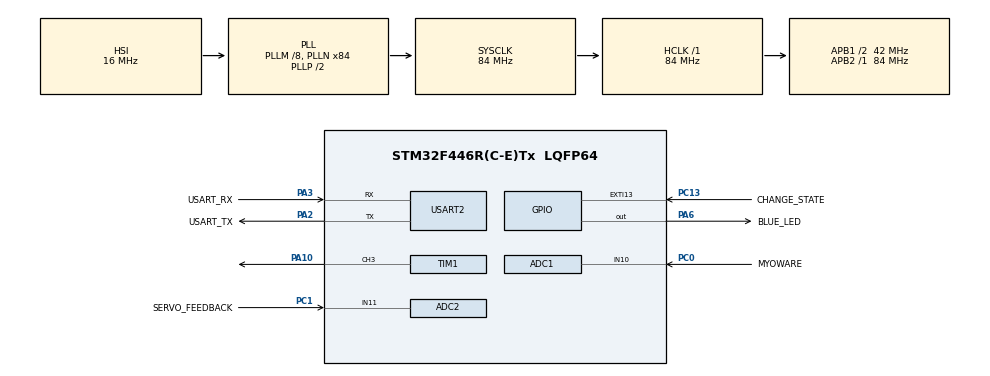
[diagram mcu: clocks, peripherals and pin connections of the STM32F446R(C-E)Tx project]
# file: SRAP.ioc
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ADC1.Channel-8\#ChannelRegularConversion=ADC_CHANNEL_10
ADC1.ContinuousConvMode=ENABLE
ADC1.DMAContinuousRequests=DISABLE
ADC1.NbrOfConversionFlag=1
ADC1.Rank-8\#ChannelRegularConversion=1
ADC1.SamplingTime-8\#ChannelRegularConversion=ADC_SAMPLETIME_3CYCLES
ADC1.master=1
ADC2.Channel-0\#ChannelRegularConversion=ADC_CHANNEL_11
ADC2.ContinuousConvMode=DISABLE
ADC2.DMAContinuousRequests=DISABLE
ADC2.NbrOfConversionFlag=1
ADC2.Rank-0\#ChannelRegularConversion=1
ADC2.SamplingTime-0\#ChannelRegularConversion=ADC_SAMPLETIME_3CYCLES
ADC2.ScanConvMode=DISABLE
Dma.ADC1.0.Direction=DMA_PERIPH_TO_MEMORY
Dma.ADC1.0.FIFOMode=DMA_FIFOMODE_DISABLE
Dma.ADC1.0.Instance=DMA2_Stream0
Dma.ADC1.0.MemDataAlignment=DMA_MDATAALIGN_HALFWORD
Dma.ADC1.0.MemInc=DMA_MINC_ENABLE
Dma.ADC1.0.Mode=DMA_CIRCULAR
Dma.ADC1.0.PeriphDataAlignment=DMA_PDATAALIGN_HALFWORD
Dma.ADC1.0.PeriphInc=DMA_PINC_DISABLE
Dma.ADC1.0.Priority=DMA_PRIORITY_LOW
Dma.Request0=ADC1
Mcu.Family=STM32F4
Mcu.Name=STM32F446R(C-E)Tx
Mcu.Package=LQFP64
NVIC.DMA2_Stream0_IRQn=true\:0\:0\:false\:false\:true\:false\:true\:true
NVIC.EXTI15_10_IRQn=true\:0\:0\:false\:false\:true\:true\:true\:true
NVIC.PriorityGroup=NVIC_PRIORITYGROUP_0
PA10.Signal=S_TIM1_CH3
PA13.GPIO_Label=TMS
PA13.Mode=Serial_Wire
PA13.Signal=SYS_JTMS-SWDIO
PA14.GPIO_Label=TCK
PA14.Mode=Serial_Wire
PA14.Signal=SYS_JTCK-SWCLK
PA2.GPIO_Label=USART_TX
PA2.Mode=Asynchronous
PA2.Signal=USART2_TX
PA3.GPIO_Label=USART_RX
PA3.Mode=Asynchronous
PA3.Signal=USART2_RX
PA6.GPIO_Label=BLUE_LED
PA6.Signal=GPIO_Output
PB3.GPIO_Label=SWO
PB3.Signal=SYS_JTDO-SWO
PC0.GPIO_Label=MYOWARE
PC0.Signal=ADCx_IN10
PC1.GPIO_Label=SERVO_FEEDBACK
PC1.Signal=ADCx_IN11
PC13.GPIO_Label=CHANGE_STATE
PC13.GPIO_ModeDefaultEXTI=GPIO_MODE_IT_FALLING
PC13.Signal=GPXTI13
PC14-OSC32_IN.Mode=LSE-External-Oscillator
PC14-OSC32_IN.Signal=RCC_OSC32_IN
PC15-OSC32_OUT.Mode=LSE-External-Oscillator
PC15-OSC32_OUT.Signal=RCC_OSC32_OUT
PH0-OSC_IN.Mode=HSE-External-Oscillator
PH0-OSC_IN.Signal=RCC_OSC_IN
PH1-OSC_OUT.Mode=HSE-External-Oscillator
PH1-OSC_OUT.Signal=RCC_OSC_OUT
ProjectManager.HeapSize=0x200
ProjectManager.StackSize=0x400
ProjectManager.TargetToolchain=STM32CubeIDE
RCC.48MHZClocksFreq_Value=84000000
RCC.AHBFreq_Value=84000000
RCC.APB1CLKDivider=RCC_HCLK_DIV2
RCC.APB1Freq_Value=42000000
RCC.APB1TimFreq_Value=84000000
RCC.APB2Freq_Value=84000000
RCC.APB2TimFreq_Value=84000000
RCC.CortexFreq_Value=84000000
RCC.FLatency-AdvancedSettings=FLASH_LATENCY_2
RCC.HCLKFreq_Value=84000000
RCC.HSE_VALUE=8000000
RCC.HSI_VALUE=16000000
RCC.PLLM=8
RCC.PLLN=84
RCC.SYSCLKFreq_VALUE=84000000
RCC.SYSCLKSource=RCC_SYSCLKSOURCE_PLLCLK
RCC.USBFreq_Value=84000000
RCC.VCOOutputFreq_Value=168000000
SH.ADCx_IN10.0=ADC1_IN10,IN10
SH.ADCx_IN11.0=ADC2_IN11,IN11
SH.S_TIM1_CH3.0=TIM1_CH3,PWM Generation3 CH3
TIM1.Channel-PWM\ Generation3\ CH3=TIM_CHANNEL_3
TIM1.Period=56000-1
TIM1.Prescaler=30-1
USART2.VirtualMode=VM_ASYNC
VP_TIM1_VS_ClockSourceINT.Mode=Internal
board=NUCLEO-F446RE

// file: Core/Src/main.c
/* USER CODE BEGIN Header */
/**
  ******************************************************************************
  * @file           : main.c
  * @brief          : Main program body
  ******************************************************************************
  * @attention
  *
  * Copyright (c) 2022 STMicroelectronics.
  * All rights reserved.
  *
  * This software is licensed under terms that can be found in the LICENSE file
  * in the root directory of this software component.
  * If no LICENSE file comes with this software, it is provided AS-IS.
  *
  ******************************************************************************
  */
/* USER CODE END Header */
#include "main.h"

/* USER CODE BEGIN Includes */
#include <stdio.h>

#include <Servo.h>
#include <operations.h>
/* USER CODE END Includes */

/* USER CODE BEGIN PD */

#define EMG_BUF_LEN 2555
#define ADC2_BUF_LEN 1
#define MOVING_POINT 25
#define TRESHOLD 80.0

/* USER CODE END PD */

ADC_HandleTypeDef hadc1;
ADC_HandleTypeDef hadc2;
DMA_HandleTypeDef hdma_adc1;

TIM_HandleTypeDef htim1;

UART_HandleTypeDef huart2;

/* USER CODE BEGIN PV */

char msg[100];

uint16_t emg_buf[EMG_BUF_LEN];
uint8_t emg_dma_complete = 0;

float emg_value = 0.0f;
float setpoint_angle = 0.0f;
float target_angle = 0.0f;
uint16_t feedback_value = 0;
Servo servo;

float min_angle = 0.0f;
float max_angle = 0.0f;

typedef enum {
	SETUP,
	CALIBRATION,
	CONFIGURATION_MIN,
	CONFIGURATION_MAX,
	CONTROL
} SystemState;

volatile SystemState system_state = SETUP;

/* USER CODE END PV */

void SystemClock_Config(void);
static void MX_GPIO_Init(void);
static void MX_DMA_Init(void);
static void MX_USART2_UART_Init(void);
static void MX_ADC1_Init(void);
static void MX_ADC2_Init(void);
static void MX_TIM1_Init(void);

int main(void)
{

  /* MCU Configuration--------------------------------------------------------*/

  /* Reset of all peripherals, Initializes the Flash interface and the Systick. */
  HAL_Init();

  /* Configure the system clock */
  SystemClock_Config();

  /* Initialize all configured peripherals */
  MX_GPIO_Init();
  MX_DMA_Init();
  MX_USART2_UART_Init();
  MX_ADC1_Init();
  MX_ADC2_Init();
  MX_TIM1_Init();
  /* USER CODE BEGIN 2 */

  servo = new_servo(&htim1, TIM_CHANNEL_3, 0.0, 180.0, 1.0, 11.0, 0.8);
  system_state = CALIBRATION;

  uint16_t min_calibration, max_calibration, mid_calibration = 0;

  /* USER CODE END 2 */

  /* Infinite loop */
  /* USER CODE BEGIN WHILE */
	while (1)
	{

		if (system_state == CALIBRATION) {
			calibrate_actuator(servo, &min_calibration, &max_calibration, &mid_calibration);
			system_state = CONFIGURATION_MIN;
		}

		if (system_state == CONFIGURATION_MIN || system_state == CONFIGURATION_MAX) {
			configure_actuator(servo, min_calibration, max_calibration, mid_calibration);
		}

		if (system_state == CONTROL) {
			// Read Samples from MYOWARE using DMA
			emg_read_loop();

			// Normalize the EMG Signal
			emg_value = normalize_emg(emg_buf);

			// Map the EMG Signal to an Angle and move servo
			setpoint_angle = emg_to_angle(emg_value);

			servo_write_deg(servo, setpoint_angle);

			// Light the PIN for DEBUG
			light_led(emg_value > TRESHOLD);
		}

    /* USER CODE END WHILE */

	}
}

void SystemClock_Config(void)
{
  RCC_OscInitTypeDef RCC_OscInitStruct = {0};
  RCC_ClkInitTypeDef RCC_ClkInitStruct = {0};

  /** Configure the main internal regulator output voltage
  */
  __HAL_RCC_PWR_CLK_ENABLE();
  __HAL_PWR_VOLTAGESCALING_CONFIG(PWR_REGULATOR_VOLTAGE_SCALE3);

  /** Initializes the RCC Oscillators according to the specified parameters
  * in the RCC_OscInitTypeDef structure.
  */
  RCC_OscInitStruct.OscillatorType = RCC_OSCILLATORTYPE_HSI;
  RCC_OscInitStruct.HSIState = RCC_HSI_ON;
  RCC_OscInitStruct.HSICalibrationValue = RCC_HSICALIBRATION_DEFAULT;
  RCC_OscInitStruct.PLL.PLLState = RCC_PLL_ON;
  RCC_OscInitStruct.PLL.PLLSource = RCC_PLLSOURCE_HSI;
  RCC_OscInitStruct.PLL.PLLM = 8;
  RCC_OscInitStruct.PLL.PLLN = 84;
  RCC_OscInitStruct.PLL.PLLP = RCC_PLLP_DIV2;
  RCC_OscInitStruct.PLL.PLLQ = 2;
  RCC_OscInitStruct.PLL.PLLR = 2;
  if (HAL_RCC_OscConfig(&RCC_OscInitStruct) != HAL_OK)
  {
    Error_Handler();
  }

  /** Initializes the CPU, AHB and APB buses clocks
  */
  RCC_ClkInitStruct.ClockType = RCC_CLOCKTYPE_HCLK|RCC_CLOCKTYPE_SYSCLK
                              |RCC_CLOCKTYPE_PCLK1|RCC_CLOCKTYPE_PCLK2;
  RCC_ClkInitStruct.SYSCLKSource = RCC_SYSCLKSOURCE_PLLCLK;
  RCC_ClkInitStruct.AHBCLKDivider = RCC_SYSCLK_DIV1;
  RCC_ClkInitStruct.APB1CLKDivider = RCC_HCLK_DIV2;
  RCC_ClkInitStruct.APB2CLKDivider = RCC_HCLK_DIV1;

  if (HAL_RCC_ClockConfig(&RCC_ClkInitStruct, FLASH_LATENCY_2) != HAL_OK)
  {
    Error_Handler();
  }
}

static void MX_ADC1_Init(void)
{

  ADC_ChannelConfTypeDef sConfig = {0};

  /** Configure the global features of the ADC (Clock, Resolution, Data Alignment and number of conversion)
  */
  hadc1.Instance = ADC1;
  hadc1.Init.ClockPrescaler = ADC_CLOCK_SYNC_PCLK_DIV4;
  hadc1.Init.Resolution = ADC_RESOLUTION_12B;
  hadc1.Init.ScanConvMode = DISABLE;
  hadc1.Init.ContinuousConvMode = ENABLE;
  hadc1.Init.DiscontinuousConvMode = DISABLE;
  hadc1.Init.ExternalTrigConvEdge = ADC_EXTERNALTRIGCONVEDGE_NONE;
  hadc1.Init.ExternalTrigConv = ADC_SOFTWARE_START;
  hadc1.Init.DataAlign = ADC_DATAALIGN_RIGHT;
  hadc1.Init.NbrOfConversion = 1;
  hadc1.Init.DMAContinuousRequests = DISABLE;
  hadc1.Init.EOCSelection = ADC_EOC_SINGLE_CONV;
  if (HAL_ADC_Init(&hadc1) != HAL_OK)
  {
    Error_Handler();
  }

  /** Configure for the selected ADC regular channel its corresponding rank in the sequencer and its sample time.
  */
  sConfig.Channel = ADC_CHANNEL_10;
  sConfig.Rank = 1;
  sConfig.SamplingTime = ADC_SAMPLETIME_3CYCLES;
  if (HAL_ADC_ConfigChannel(&hadc1, &sConfig) != HAL_OK)
  {
    Error_Handler();
  }

}

static void MX_ADC2_Init(void)
{

  ADC_ChannelConfTypeDef sConfig = {0};

  /** Configure the global features of the ADC (Clock, Resolution, Data Alignment and number of conversion)
  */
  hadc2.Instance = ADC2;
  hadc2.Init.ClockPrescaler = ADC_CLOCK_SYNC_PCLK_DIV4;
  hadc2.Init.Resolution = ADC_RESOLUTION_12B;
  hadc2.Init.ScanConvMode = DISABLE;
  hadc2.Init.ContinuousConvMode = DISABLE;
  hadc2.Init.DiscontinuousConvMode = DISABLE;
  hadc2.Init.ExternalTrigConvEdge = ADC_EXTERNALTRIGCONVEDGE_NONE;
  hadc2.Init.ExternalTrigConv = ADC_SOFTWARE_START;
  hadc2.Init.DataAlign = ADC_DATAALIGN_RIGHT;
  hadc2.Init.NbrOfConversion = 1;
  hadc2.Init.DMAContinuousRequests = DISABLE;
  hadc2.Init.EOCSelection = ADC_EOC_SINGLE_CONV;
  if (HAL_ADC_Init(&hadc2) != HAL_OK)
  {
    Error_Handler();
  }

  /** Configure for the selected ADC regular channel its corresponding rank in the sequencer and its sample time.
  */
  sConfig.Channel = ADC_CHANNEL_11;
  sConfig.Rank = 1;
  sConfig.SamplingTime = ADC_SAMPLETIME_3CYCLES;
  if (HAL_ADC_ConfigChannel(&hadc2, &sConfig) != HAL_OK)
  {
    Error_Handler();
  }

}

static void MX_TIM1_Init(void)
{

  TIM_ClockConfigTypeDef sClockSourceConfig = {0};
  TIM_MasterConfigTypeDef sMasterConfig = {0};
  TIM_OC_InitTypeDef sConfigOC = {0};
  TIM_BreakDeadTimeConfigTypeDef sBreakDeadTimeConfig = {0};

  htim1.Instance = TIM1;
  htim1.Init.Prescaler = 30-1;
  htim1.Init.CounterMode = TIM_COUNTERMODE_UP;
  htim1.Init.Period = 56000-1;
  htim1.Init.ClockDivision = TIM_CLOCKDIVISION_DIV1;
  htim1.Init.RepetitionCounter = 0;
  htim1.Init.AutoReloadPreload = TIM_AUTORELOAD_PRELOAD_DISABLE;
  if (HAL_TIM_Base_Init(&htim1) != HAL_OK)
  {
    Error_Handler();
  }
  sClockSourceConfig.ClockSource = TIM_CLOCKSOURCE_INTERNAL;
  if (HAL_TIM_ConfigClockSource(&htim1, &sClockSourceConfig) != HAL_OK)
  {
    Error_Handler();
  }
  if (HAL_TIM_PWM_Init(&htim1) != HAL_OK)
  {
    Error_Handler();
  }
  sMasterConfig.MasterOutputTrigger = TIM_TRGO_RESET;
  sMasterConfig.MasterSlaveMode = TIM_MASTERSLAVEMODE_DISABLE;
  if (HAL_TIMEx_MasterConfigSynchronization(&htim1, &sMasterConfig) != HAL_OK)
  {
    Error_Handler();
  }
  sConfigOC.OCMode = TIM_OCMODE_PWM1;
  sConfigOC.Pulse = 0;
  sConfigOC.OCPolarity = TIM_OCPOLARITY_HIGH;
  sConfigOC.OCNPolarity = TIM_OCNPOLARITY_HIGH;
  sConfigOC.OCFastMode = TIM_OCFAST_DISABLE;
  sConfigOC.OCIdleState = TIM_OCIDLESTATE_RESET;
  sConfigOC.OCNIdleState = TIM_OCNIDLESTATE_RESET;
  if (HAL_TIM_PWM_ConfigChannel(&htim1, &sConfigOC, TIM_CHANNEL_3) != HAL_OK)
  {
    Error_Handler();
  }
  sBreakDeadTimeConfig.OffStateRunMode = TIM_OSSR_DISABLE;
  sBreakDeadTimeConfig.OffStateIDLEMode = TIM_OSSI_DISABLE;
  sBreakDeadTimeConfig.LockLevel = TIM_LOCKLEVEL_OFF;
  sBreakDeadTimeConfig.DeadTime = 0;
  sBreakDeadTimeConfig.BreakState = TIM_BREAK_DISABLE;
  sBreakDeadTimeConfig.BreakPolarity = TIM_BREAKPOLARITY_HIGH;
  sBreakDeadTimeConfig.AutomaticOutput = TIM_AUTOMATICOUTPUT_DISABLE;
  if (HAL_TIMEx_ConfigBreakDeadTime(&htim1, &sBreakDeadTimeConfig) != HAL_OK)
  {
    Error_Handler();
  }
  HAL_TIM_MspPostInit(&htim1);

}

static void MX_USART2_UART_Init(void)
{

  huart2.Instance = USART2;
  huart2.Init.BaudRate = 115200;
  huart2.Init.WordLength = UART_WORDLENGTH_8B;
  huart2.Init.StopBits = UART_STOPBITS_1;
  huart2.Init.Parity = UART_PARITY_NONE;
  huart2.Init.Mode = UART_MODE_TX_RX;
  huart2.Init.HwFlowCtl = UART_HWCONTROL_NONE;
  huart2.Init.OverSampling = UART_OVERSAMPLING_16;
  if (HAL_UART_Init(&huart2) != HAL_OK)
  {
    Error_Handler();
  }

}

static void MX_DMA_Init(void)
{

  /* DMA controller clock enable */
  __HAL_RCC_DMA2_CLK_ENABLE();

  /* DMA interrupt init */
  /* DMA2_Stream0_IRQn interrupt configuration */
  HAL_NVIC_SetPriority(DMA2_Stream0_IRQn, 0, 0);
  HAL_NVIC_EnableIRQ(DMA2_Stream0_IRQn);

}

static void MX_GPIO_Init(void)
{
  GPIO_InitTypeDef GPIO_InitStruct = {0};

  /* GPIO Ports Clock Enable */
  __HAL_RCC_GPIOC_CLK_ENABLE();
  __HAL_RCC_GPIOH_CLK_ENABLE();
  __HAL_RCC_GPIOA_CLK_ENABLE();
  __HAL_RCC_GPIOB_CLK_ENABLE();

  /*Configure GPIO pin Output Level */
  HAL_GPIO_WritePin(BLUE_LED_GPIO_Port, BLUE_LED_Pin, GPIO_PIN_RESET);

  /*Configure GPIO pin : CHANGE_STATE_Pin */
  GPIO_InitStruct.Pin = CHANGE_STATE_Pin;
  GPIO_InitStruct.Mode = GPIO_MODE_IT_FALLING;
  GPIO_InitStruct.Pull = GPIO_NOPULL;
  HAL_GPIO_Init(CHANGE_STATE_GPIO_Port, &GPIO_InitStruct);

  /*Configure GPIO pin : BLUE_LED_Pin */
  GPIO_InitStruct.Pin = BLUE_LED_Pin;
  GPIO_InitStruct.Mode = GPIO_MODE_OUTPUT_PP;
  GPIO_InitStruct.Pull = GPIO_NOPULL;
  GPIO_InitStruct.Speed = GPIO_SPEED_FREQ_LOW;
  HAL_GPIO_Init(BLUE_LED_GPIO_Port, &GPIO_InitStruct);

  /* EXTI interrupt init*/
  HAL_NVIC_SetPriority(EXTI15_10_IRQn, 0, 0);
  HAL_NVIC_EnableIRQ(EXTI15_10_IRQn);

}

/* USER CODE BEGIN 4 */

void console_log(const char* message) {
	HAL_UART_Transmit(&huart2, (uint8_t*) message, strlen(message), HAL_MAX_DELAY);
}

void light_led(GPIO_PinState state) {
	HAL_GPIO_WritePin(GPIOA, GPIO_PIN_6, state);
}

void emg_read_loop() {
	HAL_ADC_Start_DMA(&hadc1, (uint32_t*) emg_buf, EMG_BUF_LEN);
	while(emg_dma_complete == 0) {

	}
	emg_dma_complete = 0;
}

float normalize_emg(uint16_t* buffer) {
	float myoware_filtered[EMG_BUF_LEN] = { 0.0f };
	moving_average_filter(buffer, myoware_filtered, EMG_BUF_LEN, MOVING_POINT);
	float myoware_avg = relative_average(myoware_filtered, EMG_BUF_LEN, MOVING_POINT) / 10;

	// debug
	sprintf(
		msg,
		"[EMG] avg = %.2f | min = %u | max = %u | normalized = %.2f \r\n",
		average(buffer, EMG_BUF_LEN),
		min(buffer, EMG_BUF_LEN),
		max(buffer, EMG_BUF_LEN),
		myoware_avg
	);
	console_log(msg);

	return myoware_avg;
}

float emg_to_angle(float emg) {
	float target_angle = min_angle;
	if (emg > TRESHOLD) {
		target_angle = max_angle;
	}
	return target_angle;
}

uint16_t read_feedback() {
	HAL_ADC_Start(&hadc2);
	HAL_ADC_PollForConversion(&hadc2, 100);
	uint16_t feedback = (uint16_t) HAL_ADC_GetValue(&hadc2);
	return feedback;
}

void calibrate_actuator(Servo servo, uint16_t *min_calibration, uint16_t *max_calibration, uint16_t *mid_calibration) {
	start_servo(servo);

	for (int i = 0.0; i < 180.0 ; i+=15.0) {
		servo_write_deg(servo, i);
		HAL_Delay(100);
	}

	servo_write_deg(servo, 0.0);
	HAL_Delay(1000);
	*min_calibration = read_feedback();

	servo_write_deg(servo, 180.0);
	HAL_Delay(1000);
	*max_calibration = read_feedback();

	servo_write_deg(servo, 90.0);
	HAL_Delay(1000);
	*mid_calibration = read_feedback();

	HAL_ADC_Stop(&hadc2);

	// debug
	sprintf(
		msg,
		"Calibration completed: 0* = %u; 90* = %u; 180* = %u \r\n",
		*min_calibration,
		*mid_calibration,
		*max_calibration
	);
	console_log(msg);
}

void configure_actuator(Servo servo, uint16_t min_calibration, uint16_t max_calibration, uint16_t mid_calibration) {
	stop_servo(servo);
	uint16_t t_feedback, min_feedback, max_feedback = mid_calibration;

	// configuration 1
	while (system_state == CONFIGURATION_MIN) {
	  t_feedback = read_feedback();
	  if (t_feedback < min_calibration && t_feedback >= mid_calibration) {
		  min_feedback = t_feedback;
	  }
	}

	start_servo(servo);
	servo_write_deg(90.0);
	stop_servo(servo);

	// configuration 2
	while (system_state == CONFIGURATION_MAX) {
	  t_feedback = read_feedback();
	  if (t_feedback > max_calibration && t_feedback <= mid_calibration) {
		  max_feedback = t_feedback;
	  }
	}

	HAL_ADC_Stop(&hadc2);

	min_angle = map(min_feedback, (float) min_calibration, (float) max_calibration, 0.0, 180.0);
	max_angle = map(max_feedback, (float) min_calibration, (float) max_calibration, 0.0, 180.0);

	// debug
	sprintf(
		msg,
		"Configuration completed: min angle = %.2f; max angle = %.2f \r\n",
		min_angle, max_angle
	);
	console_log(msg);
}

void HAL_ADC_ConvCpltCallback(ADC_HandleTypeDef* hadc) {

	if (hadc == &hadc1) {
		emg_dma_complete = 1;
	}

}

void HAL_GPIO_EXTI_Callback(uint16_t GPIO_Pin) {

	if (GPIO_Pin == GPIO_PIN_13) {
		if (system_state == CONFIGURATION_MIN) {
			system_state = CONFIGURATION_MAX;
		}
		else if (system_state == CONFIGURATION_MAX) {
			system_state = CONTROL;
		}
		else if (system_state == CONTROL) {
			system_state = CALIBRATION;
		}
	}

}

/* USER CODE END 4 */

void Error_Handler(void)
{
  __disable_irq();
  while (1)
  {
  }
}
